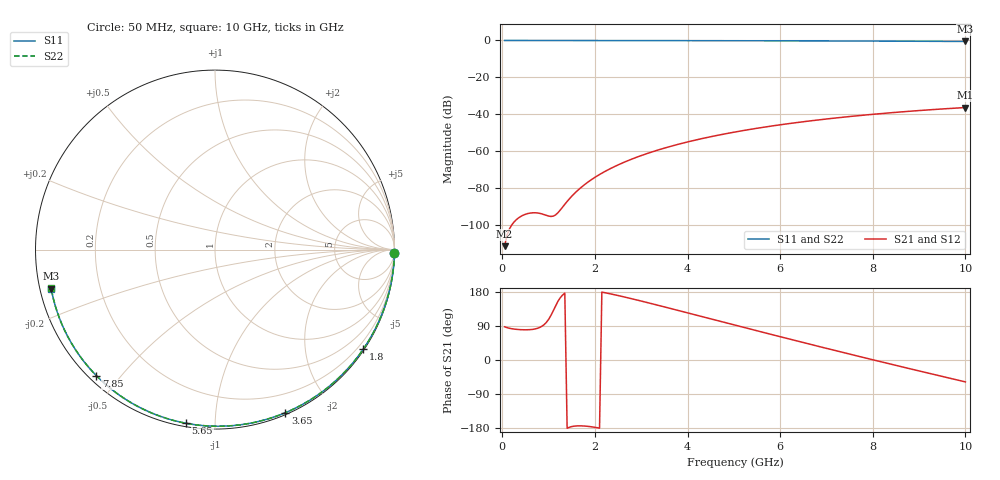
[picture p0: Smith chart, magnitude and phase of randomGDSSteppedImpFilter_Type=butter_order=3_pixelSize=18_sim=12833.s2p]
! freq	dB(S11)	phase(S11)	dB(S12)	phase(S12)
!  dB(S21)	phase(S21)	dB(S22)	phase(S22)
!S-par simulation data
#  GHz  S  DB  R 50
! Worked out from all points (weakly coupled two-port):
!   200 points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, 50 MHz to 10 GHz, reference 50 ohm
!   highest |S21| = -36.39 dB at 10 GHz (marker M1); lowest = -111.6 dB at 50 MHz (marker M2)
!   lowest |S11| = -0.6 dB at 10 GHz (marker M3), VSWR 31.35, Z = 1.62 - j5.86 ohm
!   |S11| at or under -10 dB: nowhere
!   |S22| runs from -0.6 to 0.0 dB; largest |S21 - S12| = 0
!   S11 on the Smith chart (normalised r, x): 50 MHz: open; 1.8 GHz: 0.03, -3.29; 3.65 GHz: 0.02, -1.52; 5.65 GHz: 0.02, -0.85; 7.85 GHz: 0.02, -0.43; 10 GHz: 0.03, -0.12
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0.05  -0.00 -1.0  -111.61 87.6  -111.61 87.6  -0.00 -1.0
0.45  -0.01 -8.6  -94.81 79.8  -94.81 79.8  -0.01 -8.6
0.85  -0.02 -16.2  -94.05 88.6  -94.05 88.6  -0.02 -16.2
1.65  -0.04 -31.1  -80.86 -173.7  -80.86 -173.7  -0.04 -31.1
1.7  -0.04 -32.0  -79.77 -173.8  -79.77 -173.8  -0.04 -32.0
1.75  -0.04 -32.9  -78.74 -174.0  -78.74 -174.0  -0.04 -32.9
1.8  -0.04 -33.8  -77.76 -174.5  -77.76 -174.5  -0.04 -33.8
2.1  -0.05 -39.3  -72.73 -179.7  -72.73 -179.7  -0.05 -39.3
2.5  -0.06 -46.5  -67.52 170.1  -67.52 170.1  -0.06 -46.5
2.9  -0.07 -53.6  -63.37 158.6  -63.37 158.6  -0.07 -53.6
3.4  -0.08 -62.4  -59.15 143.3  -59.15 143.3  -0.08 -62.4
3.65  -0.09 -66.7  -57.34 135.5  -57.34 135.5  -0.09 -66.7
4.3  -0.11 -77.6  -53.30 114.9  -53.30 114.9  -0.11 -77.6
5.05  -0.14 -89.9  -49.55 91.2  -49.55 91.2  -0.14 -89.9
5.65  -0.17 -99.4  -47.05 72.4  -47.05 72.4  -0.17 -99.5
6.15  -0.19 -107.3  -45.24 56.8  -45.24 56.8  -0.19 -107.3
6.7  -0.23 -115.7  -43.48 39.9  -43.48 39.9  -0.23 -115.8
7.25  -0.27 -124.1  -41.92 23.1  -41.92 23.1  -0.27 -124.2
7.85  -0.31 -133.2  -40.42 5.1  -40.42 5.1  -0.31 -133.3
8.35  -0.36 -140.8  -39.30 -9.8  -39.30 -9.8  -0.36 -140.9
9.2  -0.45 -153.9  -37.67 -34.7  -37.67 -34.7  -0.45 -154.0
10  -0.55 -166.6  -36.39 -57.7  -36.39 -57.7  -0.55 -166.7
